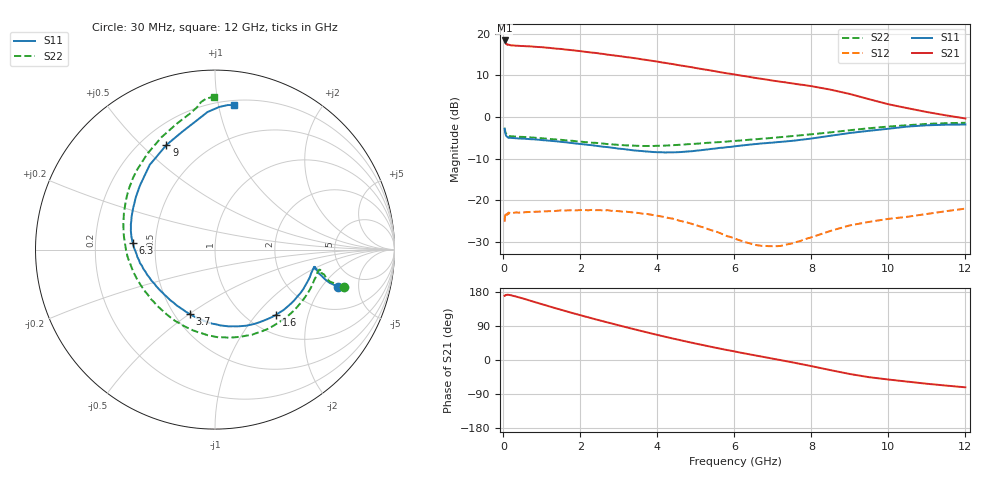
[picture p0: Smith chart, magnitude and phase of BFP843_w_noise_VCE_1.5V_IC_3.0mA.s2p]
! Infineon Technologies  Discrete & RF Semiconductors
! BFP843
! VCE =  1.5 V,  IC =  3.0 mA
! Common Emitter S-Parameters:  Aug 2013
# GHz  S  MA  R  50
!  f  S11  S21  S12  S22
! GHz  MAG  ANG  MAG  ANG  MAG  ANG  MAG  ANG
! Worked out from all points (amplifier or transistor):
!   103 points, 30 MHz to 12 GHz, reference 50 ohm
!   highest |S21| = 18.4 dB at 30 MHz (marker M1)
!   |S21| within 3 dB of that: start of sweep to 2.395 GHz
!   unconditionally stable (mu >= 1): 147.5 MHz to 864.3 MHz; 2.736 GHz to 11.11 GHz
!   at 400 MHz: K = 1.01, MAG = 19.4 dB, |S12| = -23.0 dB
!   at 3.7 GHz: K = 1.14, MAG = 16.3 dB, |S12| = -23.3 dB
!   at 12 GHz: K = 0.84, MSG = 10.8 dB, |S12| = -22.0 dB
!   lowest NFmin = 1.03 dB at 450 MHz
!   S11 on the Smith chart (normalised r, x): 30 MHz: 3.44, -2.94; 1.6 GHz: 1.32, -1.28; 3.7 GHz: 0.60, -0.50; 6.3 GHz: 0.37, +0.04; 9 GHz: 0.30, +0.60; 12 GHz: 0.24, +1.11
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0.03  0.7176 -16.8  8.328 169.3  0.0551 36.9  0.7456 -16.2
0.05  0.6323 -15.0  7.789 171.3  0.067 19.3  0.6623 -15.5
0.07  0.5924 -12.9  7.543 171.7  0.0694 15.9  0.6242 -12.9
0.13  0.5683 -10.1  7.412 172.1  0.0694 9.1  0.5946 -11.2
0.8  0.5388 -24.2  7.001 153.3  0.0725 -1.1  0.564 -30.6
1.2  0.519 -35.5  6.775 141.2  0.0738 -3.9  0.5452 -45.0
1.6  0.4978 -47.0  6.487 129.5  0.075 -7.9  0.526 -59.4
2.1  0.4688 -61.9  6.099 115.3  0.0762 -12.8  0.5005 -77.4
2.4  0.4511 -70.8  5.893 107.2  0.0759 -16.2  0.4893 -87.8
2.9  0.4233 -86.0  5.479 94.0  0.0744 -21.8  0.4661 -105.5
3.7  0.3853 -111.4  4.864 73.6  0.0687 -31.7  0.4483 -133.1
4.1  0.3772 -124.6  4.542 63.8  0.0638 -36.8  0.4504 -146.0
4.4  0.3758 -135.3  4.329 56.7  0.06 -38.7  0.4588 -154.3
5  0.3938 -153.9  3.879 43.2  0.0502 -42.8  0.477 -169.2
5.5  0.4173 -167.7  3.552 32.6  0.0422 -43.8  0.4962 180.0
6.1  0.4498 179.2  3.189 20.6  0.0333 -38.2  0.5198 168.6
6.3  0.4605 175.1  3.086 16.7  0.0311 -34.1  0.5287 164.9
7.3  0.5072 154.7  2.622 -2.3  0.0289 -7.5  0.5789 147.3
8.5  0.596 127.6  2.132 -26.8  0.0428 7.9  0.6541 125.1
9  0.6428 114.9  1.891 -37.0  0.0498 6.2  0.694 115.3
10.5  0.7679 93.1  1.276 -57.1  0.0632 -0.4  0.797 97.4
12  0.8123 82.4  0.961 -72.1  0.0792 -8.9  0.8524 90.2
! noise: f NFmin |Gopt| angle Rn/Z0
0.45  1.03  0.27  8  0.03
0.9  1.05  0.28  18  0.05
1.5  1.1  0.27  30  0.12
1.9  1.13  0.26  40  0.21
2.4  1.19  0.25  50  0.29
3.5  1.32  0.2  69  0.4
5.5  1.54  0.16  173  0.49
10  2.44  0.54  -80  0.55
